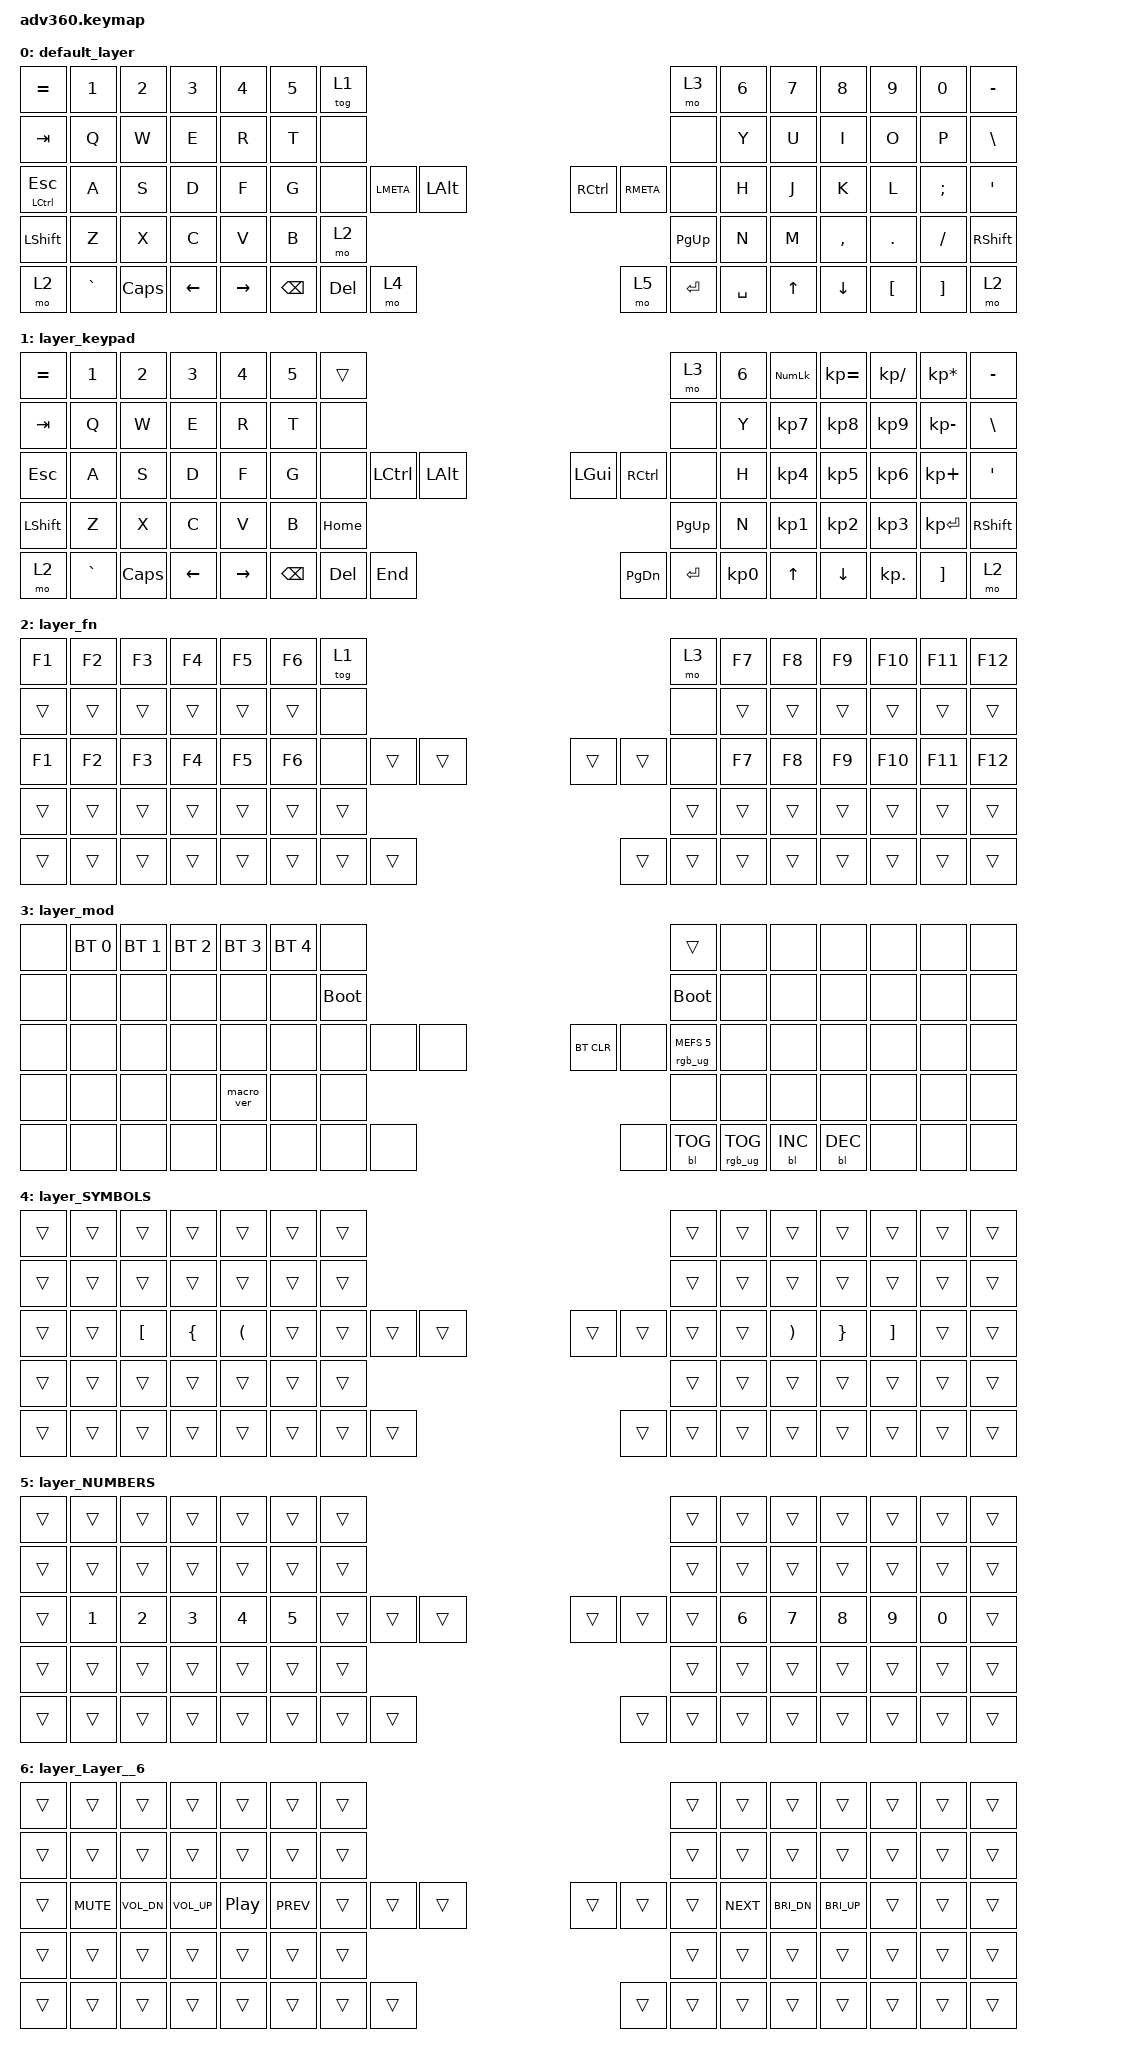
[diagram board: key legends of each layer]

/*
 * Copyright (c) 2020 The ZMK Contributors
 *
 * SPDX-License-Identifier: MIT
 */


/* THIS FILE WAS GENERATED!
 *
 * This file was generated automatically. You may or may not want to
 * edit it directly.
 */

#include <behaviors.dtsi>
#include <dt-bindings/zmk/keys.h>
#include <dt-bindings/zmk/bt.h>
#include <dt-bindings/zmk/rgb.h>
#include <dt-bindings/zmk/backlight.h>

/ {
  behaviors {
    #include "macros.dtsi"
    #include "version.dtsi"

    hm: homerow_mods {
        compatible = "zmk,behavior-hold-tap";
        label = "HOMEROW_MODS";
        #binding-cells = <2>;
        tapping-term-ms = <200>;
        quick_tap_ms = <175>;
        flavor = "tap-preferred";
        bindings = <&kp>, <&kp>;
    };
  };

    keymap {
        compatible = "zmk,keymap";


        default_layer {
            bindings = <
     &kp EQUAL     &kp N1    &kp N2    &kp N3     &kp N4  &kp N5              &tog 1                                                                 &mo 3  &kp N6  &kp N7     &kp N8    &kp N9    &kp N0  &kp MINUS
       &kp TAB      &kp Q     &kp W     &kp E      &kp R   &kp T               &none                                                                 &none   &kp Y   &kp U      &kp I     &kp O     &kp P   &kp BSLH
 &mt LCTRL ESC      &kp A     &kp S     &kp D      &kp F   &kp G               &none  &kp LMETA  &kp LALT                  &kp RCTRL  &kp RMETA      &none   &kp H   &kp J      &kp K     &kp L  &kp SEMI    &kp SQT
     &kp LSHFT      &kp Z     &kp X     &kp C      &kp V   &kp B                                    &mo 2                  &kp PG_UP                         &kp N   &kp M  &kp COMMA   &kp DOT  &kp FSLH  &kp RSHFT
         &mo 2  &kp GRAVE  &kp CAPS  &kp LEFT  &kp RIGHT                    &kp BSPC    &kp DEL     &mo 4                      &mo 5  &kp ENTER  &kp SPACE          &kp UP   &kp DOWN  &kp LBKT  &kp RBKT      &mo 2
            >;
        };

        layer_keypad {
            bindings = <
 &kp EQUAL     &kp N1    &kp N2    &kp N3     &kp N4  &kp N5              &trans                                                                 &mo 3  &kp N6  &kp KP_NUM  &kp KP_EQUAL  &kp KP_DIVIDE  &kp KP_MULTIPLY  &kp MINUS
   &kp TAB      &kp Q     &kp W     &kp E      &kp R   &kp T               &none                                                                 &none   &kp Y   &kp KP_N7     &kp KP_N8      &kp KP_N9     &kp KP_MINUS   &kp BSLH
   &kp ESC      &kp A     &kp S     &kp D      &kp F   &kp G               &none  &kp LCTRL  &kp LALT                   &kp LGUI  &kp RCTRL      &none   &kp H   &kp KP_N4     &kp KP_N5      &kp KP_N6      &kp KP_PLUS    &kp SQT
 &kp LSHFT      &kp Z     &kp X     &kp C      &kp V   &kp B                                 &kp HOME                  &kp PG_UP                         &kp N   &kp KP_N1     &kp KP_N2      &kp KP_N3     &kp KP_ENTER  &kp RSHFT
     &mo 2  &kp GRAVE  &kp CAPS  &kp LEFT  &kp RIGHT                    &kp BSPC    &kp DEL   &kp END                  &kp PG_DN  &kp ENTER  &kp KP_N0              &kp UP      &kp DOWN     &kp KP_DOT         &kp RBKT      &mo 2
            >;
        };

        layer_fn {
            bindings = <
 &kp F1  &kp F2  &kp F3  &kp F4  &kp F5  &kp F6            &tog 1                                                   &mo 3  &kp F7  &kp F8  &kp F9  &kp F10  &kp F11  &kp F12
 &trans  &trans  &trans  &trans  &trans  &trans             &none                                                   &none  &trans  &trans  &trans   &trans   &trans   &trans
 &kp F1  &kp F2  &kp F3  &kp F4  &kp F5  &kp F6             &none  &trans  &trans                  &trans  &trans   &none  &kp F7  &kp F8  &kp F9  &kp F10  &kp F11  &kp F12
 &trans  &trans  &trans  &trans  &trans  &trans                            &trans                  &trans                  &trans  &trans  &trans   &trans   &trans   &trans
 &trans  &trans  &trans  &trans  &trans                    &trans  &trans  &trans                  &trans  &trans  &trans          &trans  &trans   &trans   &trans   &trans
            >;
        };

        layer_mod {
            bindings = <
  &none  &bt BT_SEL 0  &bt BT_SEL 1  &bt BT_SEL 2  &bt BT_SEL 3  &bt BT_SEL 4                  &none                                                                          &trans   &none       &none       &none   &none   &none   &none
  &none         &none         &none         &none         &none         &none            &bootloader                                                                     &bootloader   &none       &none       &none   &none   &none   &none
  &none         &none         &none         &none         &none         &none                  &none   &none   &none                  &bt BT_CLR       &none  &rgb_ug RGB_MEFS_CMD 5   &none       &none       &none   &none   &none   &none
  &none         &none         &none         &none    &macro_ver         &none                                  &none                       &none                                       &none       &none       &none   &none   &none   &none
  &none         &none         &none         &none         &none                                &none   &none   &none                       &none  &bl BL_TOG         &rgb_ug RGB_TOG          &bl BL_INC  &bl BL_DEC   &none   &none   &none
            >;
        };

        layer_SYMBOLS {
            bindings = <
 &trans  &trans            &trans          &trans                &trans  &trans            &trans                                                  &trans  &trans                 &trans           &trans             &trans  &trans  &trans
 &trans  &trans            &trans          &trans                &trans  &trans            &trans                                                  &trans  &trans                 &trans           &trans             &trans  &trans  &trans
 &trans  &trans  &kp LEFT_BRACKET  &kp LEFT_BRACE  &kp LEFT_PARENTHESIS  &trans            &trans  &trans  &trans                  &trans  &trans  &trans  &trans  &kp RIGHT_PARENTHESIS  &kp RIGHT_BRACE  &kp RIGHT_BRACKET  &trans  &trans
 &trans  &trans            &trans          &trans                &trans  &trans                            &trans                  &trans                  &trans                 &trans           &trans             &trans  &trans  &trans
 &trans  &trans            &trans          &trans                &trans                    &trans  &trans  &trans                  &trans  &trans  &trans                         &trans           &trans             &trans  &trans  &trans
            >;
        };

        layer_NUMBERS {
            bindings = <
 &trans        &trans        &trans        &trans        &trans        &trans            &trans                                                  &trans        &trans        &trans        &trans        &trans        &trans  &trans
 &trans        &trans        &trans        &trans        &trans        &trans            &trans                                                  &trans        &trans        &trans        &trans        &trans        &trans  &trans
 &trans  &kp NUMBER_1  &kp NUMBER_2  &kp NUMBER_3  &kp NUMBER_4  &kp NUMBER_5            &trans  &trans  &trans                  &trans  &trans  &trans  &kp NUMBER_6  &kp NUMBER_7  &kp NUMBER_8  &kp NUMBER_9  &kp NUMBER_0  &trans
 &trans        &trans        &trans        &trans        &trans        &trans                            &trans                  &trans                        &trans        &trans        &trans        &trans        &trans  &trans
 &trans        &trans        &trans        &trans        &trans                          &trans  &trans  &trans                  &trans  &trans  &trans                      &trans        &trans        &trans        &trans  &trans
            >;
        };

        layer_Layer__6 {
            bindings = <
 &trans      &trans        &trans        &trans            &trans      &trans            &trans                                                  &trans      &trans        &trans        &trans  &trans  &trans  &trans
 &trans      &trans        &trans        &trans            &trans      &trans            &trans                                                  &trans      &trans        &trans        &trans  &trans  &trans  &trans
 &trans  &kp C_MUTE  &kp C_VOL_DN  &kp C_VOL_UP  &kp C_PLAY_PAUSE  &kp C_PREV            &trans  &trans  &trans                  &trans  &trans  &trans  &kp C_NEXT  &kp C_BRI_DN  &kp C_BRI_UP  &trans  &trans  &trans
 &trans      &trans        &trans        &trans            &trans      &trans                            &trans                  &trans                      &trans        &trans        &trans  &trans  &trans  &trans
 &trans      &trans        &trans        &trans            &trans                        &trans  &trans  &trans                  &trans  &trans  &trans                    &trans        &trans  &trans  &trans  &trans
            >;
        };

    };
};
